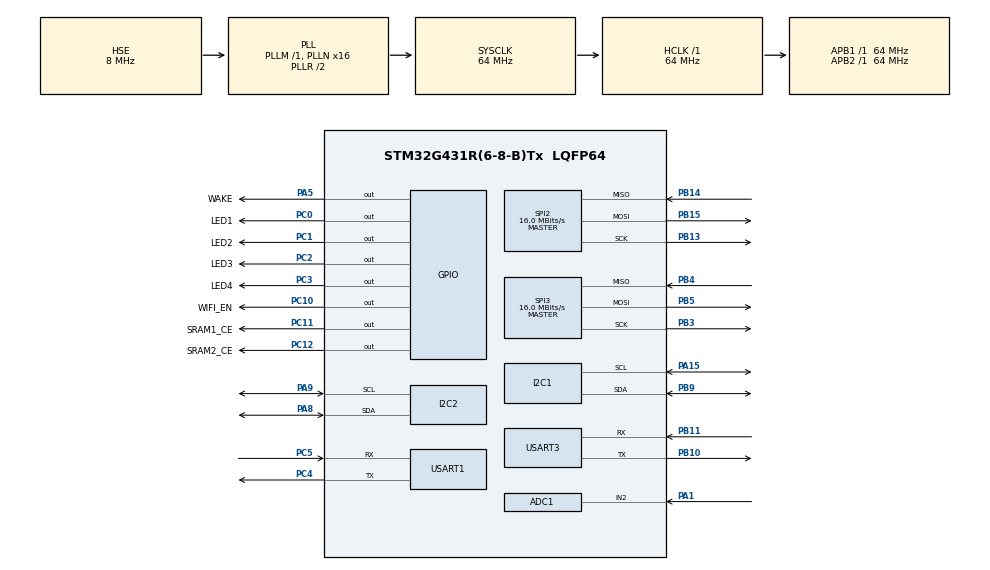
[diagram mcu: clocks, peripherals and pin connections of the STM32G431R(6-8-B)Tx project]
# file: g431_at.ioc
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ADC1.Channel-0\#ChannelRegularConversion=ADC_CHANNEL_2
ADC1.ClockPrescaler=ADC_CLOCK_ASYNC_DIV4
ADC1.NbrOfConversionFlag=1
ADC1.OffsetNumber-0\#ChannelRegularConversion=ADC_OFFSET_NONE
ADC1.Rank-0\#ChannelRegularConversion=1
ADC1.SamplingTime-0\#ChannelRegularConversion=ADC_SAMPLETIME_2CYCLES_5
ADC1.master=1
I2C1.Timing=0x10707DBC
I2C2.Timing=0x10707DBC
Mcu.Family=STM32G4
Mcu.Name=STM32G431R(6-8-B)Tx
Mcu.Package=LQFP64
NVIC.ADC1_2_IRQn=true\:12\:0\:true\:false\:true\:true\:true
NVIC.I2C1_ER_IRQn=true\:8\:0\:true\:false\:true\:true\:true
NVIC.I2C1_EV_IRQn=true\:8\:0\:true\:false\:true\:true\:true
NVIC.I2C2_ER_IRQn=true\:8\:0\:true\:false\:true\:true\:true
NVIC.I2C2_EV_IRQn=true\:8\:0\:true\:false\:true\:true\:true
NVIC.PriorityGroup=NVIC_PRIORITYGROUP_4
NVIC.RTC_Alarm_IRQn=true\:11\:0\:true\:false\:true\:true\:true
NVIC.SPI2_IRQn=true\:10\:0\:true\:false\:true\:true\:true
NVIC.SPI3_IRQn=true\:10\:0\:true\:false\:true\:true\:true
NVIC.USART1_IRQn=true\:9\:0\:true\:false\:true\:true\:true
NVIC.USART3_IRQn=true\:9\:0\:true\:false\:true\:true\:true
PA1.Mode=IN2-Single-Ended
PA1.Signal=ADC1_IN2
PA13.Mode=Serial_Wire
PA13.Signal=SYS_JTMS-SWDIO
PA14.Mode=Serial_Wire
PA14.Signal=SYS_JTCK-SWCLK
PA15.Mode=I2C
PA15.Signal=I2C1_SCL
PA5.GPIO_Label=WAKE
PA5.Signal=GPIO_Output
PA8.Mode=I2C
PA8.Signal=I2C2_SDA
PA9.Mode=I2C
PA9.Signal=I2C2_SCL
PB10.Mode=Asynchronous
PB10.Signal=USART3_TX
PB11.Mode=Asynchronous
PB11.Signal=USART3_RX
PB13.GPIO_Speed=GPIO_SPEED_FREQ_HIGH
PB13.Mode=Full_Duplex_Master
PB13.Signal=SPI2_SCK
PB14.GPIO_Speed=GPIO_SPEED_FREQ_HIGH
PB14.Mode=Full_Duplex_Master
PB14.Signal=SPI2_MISO
PB15.GPIO_Speed=GPIO_SPEED_FREQ_HIGH
PB15.Mode=Full_Duplex_Master
PB15.Signal=SPI2_MOSI
PB3.GPIO_Speed=GPIO_SPEED_FREQ_HIGH
PB3.Mode=Full_Duplex_Master
PB3.Signal=SPI3_SCK
PB4.GPIO_Speed=GPIO_SPEED_FREQ_HIGH
PB4.Mode=Full_Duplex_Master
PB4.Signal=SPI3_MISO
PB5.GPIO_Speed=GPIO_SPEED_FREQ_HIGH
PB5.Mode=Full_Duplex_Master
PB5.Signal=SPI3_MOSI
PB9.Mode=I2C
PB9.Signal=I2C1_SDA
PC0.GPIO_Label=LED1
PC0.Signal=GPIO_Output
PC1.GPIO_Label=LED2
PC1.Signal=GPIO_Output
PC10.GPIO_Label=WIFI_EN
PC10.Signal=GPIO_Output
PC11.GPIO_Label=SRAM1_CE
PC11.Signal=GPIO_Output
PC12.GPIO_Label=SRAM2_CE
PC12.Signal=GPIO_Output
PC2.GPIO_Label=LED3
PC2.Signal=GPIO_Output
PC3.GPIO_Label=LED4
PC3.Signal=GPIO_Output
PC4.Mode=Asynchronous
PC4.Signal=USART1_TX
PC5.Mode=Asynchronous
PC5.Signal=USART1_RX
PF0-OSC_IN.Mode=HSE-External-Oscillator
PF0-OSC_IN.Signal=RCC_OSC_IN
PF1-OSC_OUT.Mode=HSE-External-Oscillator
PF1-OSC_OUT.Signal=RCC_OSC_OUT
ProjectManager.HeapSize=0x200
ProjectManager.StackSize=0x400
ProjectManager.TargetToolchain=MDK-ARM V5
RCC.ADC12Freq_Value=64000000
RCC.AHBFreq_Value=64000000
RCC.APB1Freq_Value=64000000
RCC.APB1TimFreq_Value=64000000
RCC.APB2Freq_Value=64000000
RCC.APB2TimFreq_Value=64000000
RCC.CortexFreq_Value=64000000
RCC.EXTERNAL_CLOCK_VALUE=12288000
RCC.HCLKFreq_Value=64000000
RCC.HSE_VALUE=8000000
RCC.HSI48_VALUE=48000000
RCC.HSI_VALUE=16000000
RCC.LSE_VALUE=32768
RCC.PLLN=16
RCC.PLLSourceVirtual=RCC_PLLSOURCE_HSE
RCC.SYSCLKFreq_VALUE=64000000
RCC.SYSCLKSource=RCC_SYSCLKSOURCE_PLLCLK
RCC.USBFreq_Value=64000000
RCC.VCOOutputFreq_Value=128000000
RTC.Alarm-Alarm\ A=RTC_ALARM_A
RTC.AsynchPrediv=0x7f
RTC.SynchPrediv=0xf9
SPI2.BaudRatePrescaler=SPI_BAUDRATEPRESCALER_4
SPI2.CalculateBaudRate=16.0 MBits/s
SPI2.DataSize=SPI_DATASIZE_8BIT
SPI2.Direction=SPI_DIRECTION_2LINES
SPI2.Mode=SPI_MODE_MASTER
SPI2.VirtualType=VM_MASTER
SPI3.BaudRatePrescaler=SPI_BAUDRATEPRESCALER_4
SPI3.CalculateBaudRate=16.0 MBits/s
SPI3.DataSize=SPI_DATASIZE_8BIT
SPI3.Direction=SPI_DIRECTION_2LINES
SPI3.Mode=SPI_MODE_MASTER
SPI3.NSSPMode=SPI_NSS_PULSE_DISABLE
SPI3.VirtualType=VM_MASTER
USART1.VirtualMode-Asynchronous=VM_ASYNC
USART3.VirtualMode-Asynchronous=VM_ASYNC
VP_RTC_VS_RTC_Activate.Mode=RTC_Enabled
VP_RTC_VS_RTC_Alarm_A_Intern.Mode=Alarm A
VP_RTC_VS_RTC_Calendar.Mode=RTC_Calendar
VP_SYS_VS_DBSignals.Mode=DisableDeadBatterySignals
board=custom

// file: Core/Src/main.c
/* USER CODE BEGIN Header */
/**
  ******************************************************************************
  * @file           : main.c
  * @brief          : Main program body
  ******************************************************************************
  * @attention
  *
  * <h2><center>&copy; Copyright (c) 2021 STMicroelectronics.
  * All rights reserved.</center></h2>
  *
  * This software component is licensed by ST under BSD 3-Clause license,
  * the "License"; You may not use this file except in compliance with the
  * License. You may obtain a copy of the License at:
  *                        opensource.org/licenses/BSD-3-Clause
  *
  ******************************************************************************
  */
/* USER CODE END Header */
#include "main.h"
#include "adc.h"
#include "i2c.h"
#include "rtc.h"
#include "spi.h"
#include "usart.h"
#include "gpio.h"

/* USER CODE BEGIN Includes */
#include "cmsis_os.h"
#include "task.h"
#include "itcallback.h"

/* USER CODE END Includes */

/* USER CODE BEGIN PV */
k_mutex_t uart3_send_locker;

/* USER CODE END PV */

void SystemClock_Config(void);

/* USER CODE BEGIN 0 */
int fputc(int ch, FILE *f)//将 printf 函数重定向到串口2
{
	k_err_t err;
	err = tos_mutex_pend(&uart3_send_locker);
	if (err == K_ERR_NONE)
	{
		if (ch == '\n')
    {
      HAL_UART_Transmit(&huart3, (void *)"\r", 1,30000);
		  //while(huart3.gState != HAL_UART_STATE_READY);
		  //HAL_UART_Transmit_IT(&huart3, (void *)"\r", 1); //ltg
    }
    HAL_UART_Transmit(&huart3, (uint8_t *)&ch, 1, 0xFFFF);
	  //while(huart3.gState != HAL_UART_STATE_READY);
	  //HAL_UART_Transmit_IT(&huart3, (uint8_t *)&ch, 1); //ltg
	}
  tos_mutex_post(&uart3_send_locker);
  return ch;
}

/* USER CODE END 0 */

int main(void)
{

  /* MCU Configuration--------------------------------------------------------*/

  /* Reset of all peripherals, Initializes the Flash interface and the Systick. */
  HAL_Init();

  /* Configure the system clock */
  SystemClock_Config();

  /* Initialize all configured peripherals */
  MX_GPIO_Init();
  MX_SPI2_Init();
  MX_SPI3_Init();
  MX_USART1_UART_Init();
  MX_USART3_UART_Init();
  MX_RTC_Init();
  MX_I2C2_Init();
  MX_ADC1_Init();
  MX_I2C1_Init();
  /* USER CODE BEGIN 2 */
	tos_knl_init();
	tos_mutex_create(&uart3_send_locker);
	printf("\r\ncreate task_main start\r\n");
	printf("\r\nplease input para\r\n");
	(void)tos_task_create(&task_main, "task_main", task_main_entry,
                         K_NULL, TASK_MAIN_PRIO,
                          stack_task_main, STK_SIZE_TASK_MAIN, 0);
	printf("\r\ncreate task_main end\r\n");
	tos_knl_start();

  /* USER CODE END 2 */

  /* Infinite loop */
  while (1)
  {

    /* USER CODE BEGIN 3 */
		HAL_Delay(2000);

  }
  /* USER CODE END 3 */
}

void SystemClock_Config(void)
{
  RCC_OscInitTypeDef RCC_OscInitStruct = {0};
  RCC_ClkInitTypeDef RCC_ClkInitStruct = {0};
  RCC_PeriphCLKInitTypeDef PeriphClkInit = {0};

  /** Configure the main internal regulator output voltage
  */
  HAL_PWREx_ControlVoltageScaling(PWR_REGULATOR_VOLTAGE_SCALE1);
  /** Initializes the RCC Oscillators according to the specified parameters
  * in the RCC_OscInitTypeDef structure.
  */
  RCC_OscInitStruct.OscillatorType = RCC_OSCILLATORTYPE_LSI|RCC_OSCILLATORTYPE_HSE;
  RCC_OscInitStruct.HSEState = RCC_HSE_ON;
  RCC_OscInitStruct.LSIState = RCC_LSI_ON;
  RCC_OscInitStruct.PLL.PLLState = RCC_PLL_ON;
  RCC_OscInitStruct.PLL.PLLSource = RCC_PLLSOURCE_HSE;
  RCC_OscInitStruct.PLL.PLLM = RCC_PLLM_DIV1;
  RCC_OscInitStruct.PLL.PLLN = 16;
  RCC_OscInitStruct.PLL.PLLP = RCC_PLLP_DIV2;
  RCC_OscInitStruct.PLL.PLLQ = RCC_PLLQ_DIV2;
  RCC_OscInitStruct.PLL.PLLR = RCC_PLLR_DIV2;
  if (HAL_RCC_OscConfig(&RCC_OscInitStruct) != HAL_OK)
  {
    Error_Handler();
  }
  /** Initializes the CPU, AHB and APB buses clocks
  */
  RCC_ClkInitStruct.ClockType = RCC_CLOCKTYPE_HCLK|RCC_CLOCKTYPE_SYSCLK
                              |RCC_CLOCKTYPE_PCLK1|RCC_CLOCKTYPE_PCLK2;
  RCC_ClkInitStruct.SYSCLKSource = RCC_SYSCLKSOURCE_PLLCLK;
  RCC_ClkInitStruct.AHBCLKDivider = RCC_SYSCLK_DIV1;
  RCC_ClkInitStruct.APB1CLKDivider = RCC_HCLK_DIV1;
  RCC_ClkInitStruct.APB2CLKDivider = RCC_HCLK_DIV1;

  if (HAL_RCC_ClockConfig(&RCC_ClkInitStruct, FLASH_LATENCY_1) != HAL_OK)
  {
    Error_Handler();
  }
  /** Initializes the peripherals clocks
  */
  PeriphClkInit.PeriphClockSelection = RCC_PERIPHCLK_RTC|RCC_PERIPHCLK_USART1
                              |RCC_PERIPHCLK_USART3|RCC_PERIPHCLK_I2C1
                              |RCC_PERIPHCLK_I2C2|RCC_PERIPHCLK_ADC12;
  PeriphClkInit.Usart1ClockSelection = RCC_USART1CLKSOURCE_PCLK2;
  PeriphClkInit.Usart3ClockSelection = RCC_USART3CLKSOURCE_PCLK1;
  PeriphClkInit.I2c1ClockSelection = RCC_I2C1CLKSOURCE_PCLK1;
  PeriphClkInit.I2c2ClockSelection = RCC_I2C2CLKSOURCE_PCLK1;
  PeriphClkInit.Adc12ClockSelection = RCC_ADC12CLKSOURCE_SYSCLK;
  PeriphClkInit.RTCClockSelection = RCC_RTCCLKSOURCE_LSI;

  if (HAL_RCCEx_PeriphCLKConfig(&PeriphClkInit) != HAL_OK)
  {
    Error_Handler();
  }
}

void Error_Handler(void)
{
  __disable_irq();
  while (1)
  {
  }
}

/************************ (C) COPYRIGHT STMicroelectronics *****END OF FILE****/
